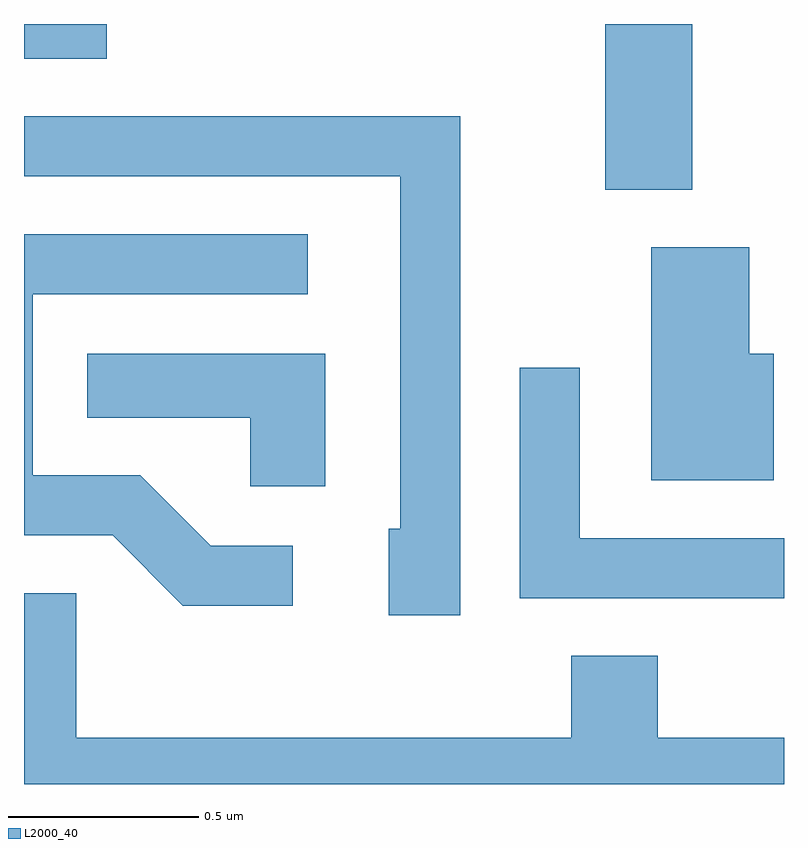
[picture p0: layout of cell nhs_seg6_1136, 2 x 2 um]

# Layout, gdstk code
import gdstk
lib = gdstk.Library(unit=1e-6, precision=1e-09)
def R(c, l, rs):  # rectangles x0, y0, x1, y1
    for r in rs: c.add(gdstk.rectangle(r[:2], r[2:], *l))
def P(c, l, *ps):  # polygons
    for p in ps: c.add(gdstk.Polygon(p, *l))
L2000_40 = (2000, 40)

nhs_seg6_1136 = lib.new_cell('nhs_seg6_1136')
R(nhs_seg6_1136, L2000_40, [(195.141,1571.726,195.369,1572.162), (193.611,1572.071,193.829,1572.162)])
P(nhs_seg6_1136, L2000_40, [(194.759,1571.919),(193.611,1571.919),(193.611,1571.761),(194.601,1571.761),(194.601,1570.834),(194.571,1570.834),(194.571,1570.606),(194.759,1570.606)],
  [(194.318,1570.789),(194.102,1570.789),(193.917,1570.974),(193.634,1570.974),(193.634,1571.451),(194.358,1571.451),(194.358,1571.609),(193.611,1571.609),(193.611,1570.816),(193.844,1570.816),(194.029,1570.631),(194.318,1570.631)],
  [(195.584,1571.294),(195.519,1571.294),(195.519,1571.574),(195.261,1571.574),(195.261,1570.961),(195.584,1570.961)],
  [(194.404,1571.294),(193.778,1571.294),(193.778,1571.126),(194.206,1571.126),(194.206,1570.946),(194.404,1570.946)],
  [(195.611,1570.809),(195.074,1570.809),(195.074,1571.258),(194.916,1571.258),(194.916,1570.651),(195.611,1570.651)],
  [(195.611,1570.284),(195.279,1570.284),(195.279,1570.499),(195.051,1570.499),(195.051,1570.284),(193.749,1570.284),(193.749,1570.664),(193.611,1570.664),(193.611,1570.162),(195.611,1570.162)])

lib.write_gds('nhs_seg6_1136.gds')
